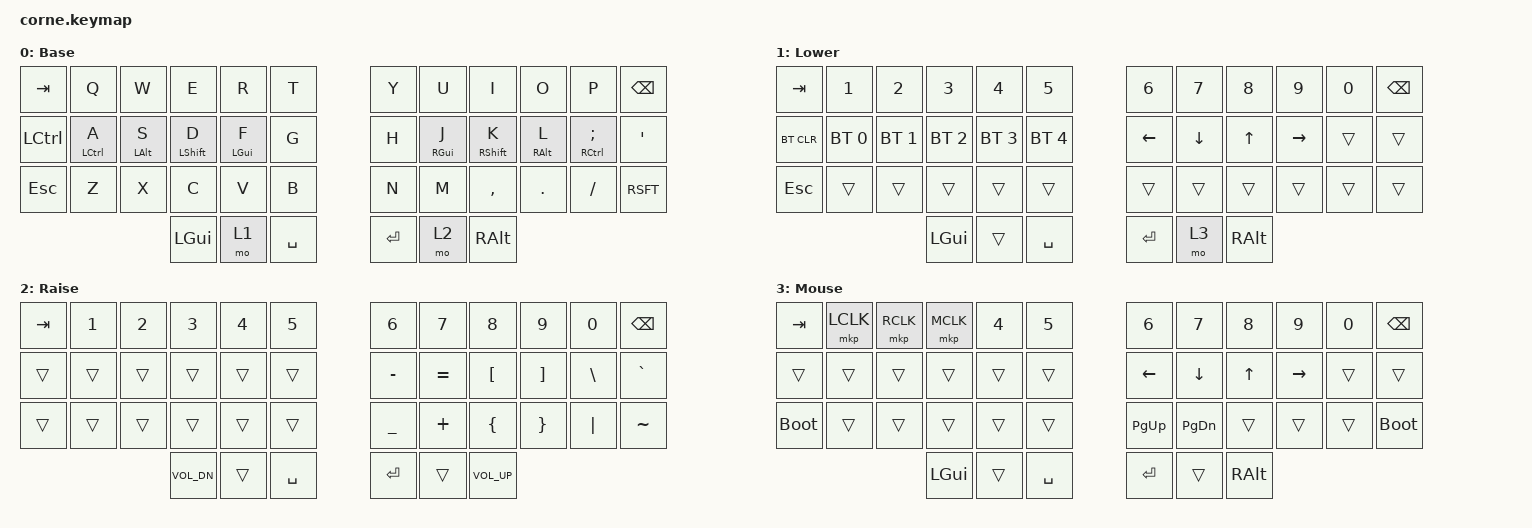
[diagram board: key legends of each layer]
/*
 * Corne Keymap for ZMK
 * 
 * Features:
 * - Homerow mods (Ctrl/Alt/Shift/GUI on ASDF JKL;)
 * - LOWER (left thumb): numbers, BT control, arrows
 * - RAISE (right thumb): numbers, symbols, volume
 */

#include <behaviors.dtsi>
#include <dt-bindings/zmk/keys.h>
#include <dt-bindings/zmk/bt.h>
#include <dt-bindings/zmk/pointing.h>

/ {
    behaviors {
        hm: homerow_mods {
            compatible = "zmk,behavior-hold-tap";
            #binding-cells = <2>;
            tapping-term-ms = <200>;
            quick-tap-ms = <150>;
            flavor = "tap-preferred";
            bindings = <&kp>, <&kp>;
        };
    };

    keymap {
        compatible = "zmk,keymap";

        /* BASE LAYER with Homerow Mods */
        layer0: base {
            display-name = "Base";
            bindings = <
                &kp TAB    &kp Q    &kp W    &kp E    &kp R    &kp T     &kp Y     &kp U     &kp I     &kp O     &kp P     &kp BSPC
                &kp LCTRL  &hm LCTRL A &hm LALT S &hm LSHFT D &hm LGUI F &kp G  &kp H  &hm RGUI J &hm RSHFT K &hm RALT L &hm RCTRL SEMI &kp SQT
                &kp ESC    &kp Z    &kp X    &kp C    &kp V    &kp B     &kp N     &kp M     &kp COMMA &kp DOT   &kp SLASH &kp RSFT
                           &kp LGUI &mo 1    &kp SPACE                   &kp RET   &mo 2     &kp RALT
            >;
        };

        /* LOWER LAYER - Numbers, BT, Arrows */
        lower: lower {
            display-name = "Lower";
            bindings = <
                &kp TAB    &kp N1   &kp N2   &kp N3   &kp N4   &kp N5     &kp N6    &kp N7    &kp N8    &kp N9    &kp N0    &kp BSPC
                &bt BT_CLR &bt BT_SEL 0 &bt BT_SEL 1 &bt BT_SEL 2 &bt BT_SEL 3 &bt BT_SEL 4 &kp LEFT  &kp DOWN  &kp UP    &kp RIGHT &trans    &trans
                &kp ESC    &trans   &trans   &trans   &trans   &trans     &trans    &trans    &trans    &trans    &trans    &trans
                           &kp LGUI &trans   &kp SPACE                   &kp RET   &mo 3     &kp RALT
            >;
        };

        /* RAISE LAYER - Numbers, Symbols, Volume */
        raise: raise {
            display-name = "Raise";
            bindings = <
                &kp TAB    &kp N1   &kp N2   &kp N3   &kp N4   &kp N5     &kp N6    &kp N7    &kp N8    &kp N9    &kp N0    &kp BSPC
                &trans     &trans   &trans   &trans   &trans   &trans     &kp MINUS &kp EQUAL &kp LBKT  &kp RBKT  &kp BSLH  &kp GRAVE
                &trans     &trans   &trans   &trans   &trans   &trans     &kp UNDER &kp PLUS  &kp LBRC  &kp RBRC  &kp PIPE  &kp TILDE
                           &kp C_VOL_DN &trans &kp SPACE                   &kp RET   &trans    &kp C_VOL_UP
            >;
        };

        /* MOUSE LAYER - Both thumbs together */
        mouse: mouse {
            display-name = "Mouse";
            bindings = <
                &kp TAB    &mkp LCLK &mkp RCLK &mkp MCLK &kp N4  &kp N5    &kp N6    &kp N7    &kp N8    &kp N9    &kp N0    &kp BSPC
                &trans     &trans   &trans   &trans   &trans   &trans     &kp LEFT  &kp DOWN  &kp UP    &kp RIGHT &trans    &trans
                &bootloader &trans  &trans   &trans   &trans   &trans     &kp PG_UP &kp PG_DN &trans    &trans    &trans    &bootloader
                           &kp LGUI &trans   &kp SPACE                   &kp RET   &trans    &kp RALT
            >;
        };
    };
};
